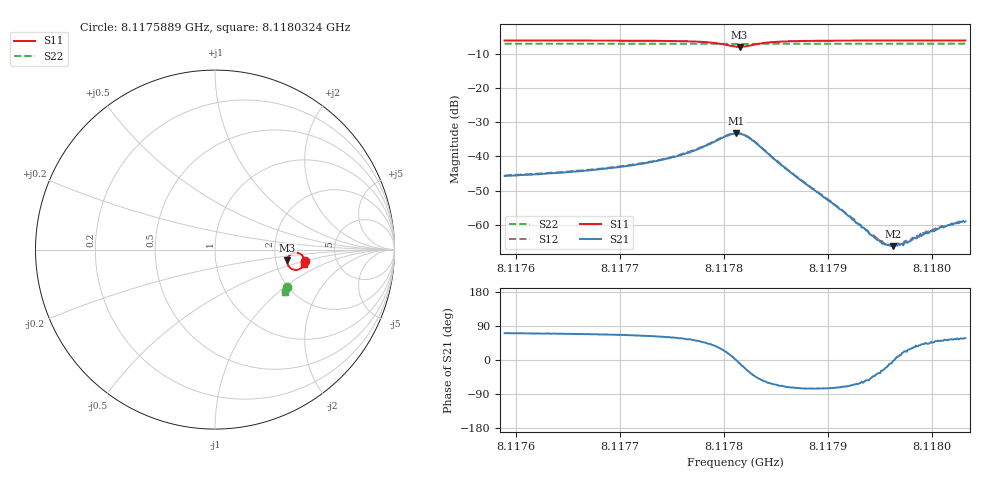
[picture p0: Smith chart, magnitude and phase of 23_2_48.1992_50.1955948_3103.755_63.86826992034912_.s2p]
#  HZ  S  RI  R  50.00
! Rohde & Schwarz Vector Network Analyzer
! Rohde-Schwarz,ZNB20-2Port,1311601062101988,3.16
! Created: UTC 3/20/2024, 11:37:02 AM
! freq[Hz]  re:S11  im:S11  re:S21  im:S21  re:S12  im:S12  re:S22  im:S22
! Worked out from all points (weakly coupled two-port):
!   401 points, 8.1175889 GHz to 8.1180324 GHz, reference 50 ohm
!   highest |S21| = -33.20 dB at 8.1178118 GHz (marker M1); lowest = -66.3 dB at 8.1179626 GHz (marker M2)
!   lowest |S11| = -7.8 dB at 8.1178151 GHz (marker M3), VSWR 2.37, Z = 116 - j16.3 ohm
!   |S11| at or under -10 dB: nowhere
!   |S22| runs from -7.0 to -6.9 dB; largest |S21 - S12| = 0.0006
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8.11758889e9  0.5006 -0.0662  0.00171 0.00488  0.00175 0.00496  0.4018 -0.2078
8.11766318e9  0.4979 -0.0759  0.00222 0.00569  0.00234 0.00583  0.3995 -0.2126
8.11770975e9  0.4944 -0.0846  0.00307 0.00671  0.00318 0.00678  0.3979 -0.2157
8.11773747e9  0.4901 -0.092  0.00413 0.0077  0.00426 0.00783  0.3968 -0.2177
8.11777295e9  0.4742 -0.1068  0.00773 0.00966  0.00801 0.0099  0.3948 -0.2202
8.11779735e9  0.4352 -0.1111  0.0162 0.00903  0.0165 0.00903  0.3924 -0.2214
8.11781065e9  0.4036 -0.0788  0.0218 0.001  0.022 0.00065  0.3909 -0.2203
8.11781176e9  0.4024 -0.074  0.0219 -0.000161  0.0222 -0.000464  0.391 -0.2201
8.11781509e9  0.402 -0.059  0.0213 -0.00333  0.0217 -0.00366  0.391 -0.2197
8.11782839e9  0.4355 -0.0189  0.0129 -0.011  0.013 -0.0112  0.3927 -0.2192
8.11785611e9  0.4856 -0.0324  0.00274 -0.00672  0.00259 -0.00697  0.3939 -0.2221
8.11788494e9  0.496 -0.0497  0.000874 -0.00324  0.000823 -0.00334  0.3932 -0.2246
8.11791488e9  0.4985 -0.0601  0.000521 -0.00148  0.000516 -0.00148  0.3922 -0.2268
8.11794593e9  0.4991 -0.0672  0.000485 -0.0004  0.000497 -0.000424  0.3911 -0.229
8.11795369e9  0.4991 -0.0687  0.000478 -0.000226  0.000491 -0.000204  0.3909 -0.2295
8.11795923e9  0.4991 -0.0697  0.000485 -8.94e-05  0.000503 -0.000101  0.3907 -0.2298
8.11796256e9  0.4991 -0.0702  0.000482 -2.59e-05  0.000544 -2.1e-05  0.3905 -0.2301
8.11797476e9  0.499 -0.0721  0.000501 0.000215  0.00054 0.000201  0.3902 -0.2309
8.11798917e9  0.4989 -0.0743  0.000572 0.000465  0.00054 0.000439  0.3897 -0.2318
8.11799361e9  0.4988 -0.0748  0.000532 0.000523  0.000583 0.000505  0.3896 -0.2322
8.11800802e9  0.4988 -0.0769  0.000591 0.00071  0.000602 0.000675  0.3891 -0.233
8.11803242e9  0.4985 -0.0798  0.000596 0.000941  0.000623 0.000958  0.3883 -0.2345
